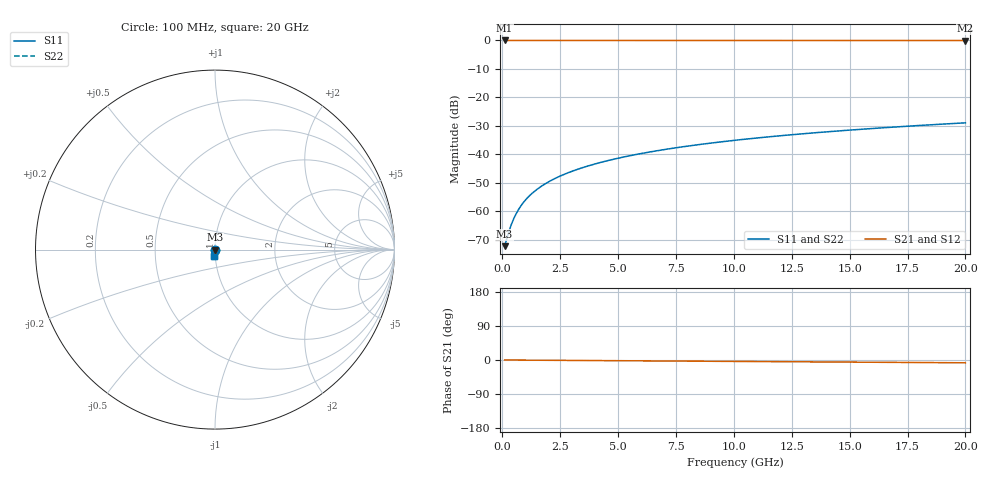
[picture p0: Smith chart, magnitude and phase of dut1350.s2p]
! Touchstone file exported from HFSS 2026.1.0
!  File:  C:/ffzhzh/LocalFiles/Ansys_Project_Files/temp_train_TSV_1350_1783195800_22436.aedt
!  Generated:  04:11:23 AM Jul  5, 2026
!  Design:  TSV
!  Project:  temp_train_TSV_1350_1783195800_22436
! Variables:
!  h_bsmrdl = 2um
!  h_ox = 20um
!  h_rdl = 5um
!  h_sub = 76.01um
!  h_tmrdl = 5um
!  h_tsv = 76.01um
!  h_via = 3um
!  l_bsmrdl = 300um
!  l_sub = 414.62um
!  l_tmrdl = 200um
!  m_sub = 200um
!  pitch = 22.85um
!  r_tsv = 7.31um
!  s_tmrdl = 10um
!  w_bsmrdl = 18um
!  w_sub = 500um
!  w_tmrdl = 12um
!  x_tsv_center1 = 206um
!  x_tsv_center2 = 524um
!  x_tsv_center3 = 736um
!  x_tsv_center4 = 1054um
!  x_tsv_center5 = 1266um
!  x_tsv_center6 = 1584um
# GHz S MA R 50.000000
! Terminal data exported
! Port[1] = TSV1_1_T1
! Port[2] = TSV1_1_T2
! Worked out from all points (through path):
!   200 points, 100 MHz to 20 GHz, reference 50 ohm
!   highest |S21| = 0.00 dB at 100 MHz (marker M1); lowest = 0.0 dB at 20 GHz (marker M2)
!   group delay of S21, straight-line fit = 1.02 ps
!   lowest |S11| = -72.3 dB at 100 MHz (marker M3), VSWR 1.00, Z = 50 - j0.012 ohm
!   |S11| at or under -10 dB: start of sweep to end of sweep
!   |S22| runs from -72.3 to -28.9 dB; largest |S21 - S12| = 2.8e-15
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0.1  0.000243 -29.7  0.9998 -0.0  0.9998 -0.0  0.000243 -29.7
! Gamma 0 0 0 0
! Port Impedance 50 0 50 0
0.3  0.0004586 -56.1  0.9997 -0.1  0.9997 -0.1  0.0004586 -56.1
0.4  0.0005976 -61.4  0.9997 -0.2  0.9997 -0.2  0.0005976 -61.4
0.5  0.0007477 -64.9  0.9997 -0.2  0.9997 -0.2  0.0007477 -64.9
0.6  0.0009053 -67.6  0.9997 -0.2  0.9997 -0.2  0.0009053 -67.6
0.8  0.001234 -71.4  0.9996 -0.3  0.9996 -0.3  0.001234 -71.4
0.9  0.001402 -72.8  0.9996 -0.3  0.9996 -0.3  0.001402 -72.8
1.1  0.001741 -75.1  0.9995 -0.4  0.9995 -0.4  0.001741 -75.1
1.3  0.002082 -76.9  0.9995 -0.5  0.9995 -0.5  0.002082 -76.9
1.5  0.002425 -78.3  0.9995 -0.6  0.9995 -0.6  0.002425 -78.3
1.8  0.002939 -79.9  0.9994 -0.7  0.9994 -0.7  0.002939 -79.9
2.1  0.003454 -81.1  0.9994 -0.8  0.9994 -0.8  0.003454 -81.1
2.7  0.004489 -82.8  0.9993 -1.0  0.9993 -1.0  0.004489 -82.8
3.5  0.005882 -84.2  0.9993 -1.3  0.9993 -1.3  0.005882 -84.2
4.2  0.007112 -85.1  0.9992 -1.6  0.9992 -1.6  0.007112 -85.1
5  0.00853 -86.0  0.9991 -1.9  0.9991 -1.9  0.00853 -86.0
6.8  0.01175 -87.5  0.9989 -2.5  0.9989 -2.5  0.01175 -87.5
8.3  0.01446 -88.5  0.9987 -3.1  0.9987 -3.1  0.01446 -88.5
10.1  0.01771 -89.7  0.9986 -3.8  0.9986 -3.8  0.01771 -89.7
13.4  0.0237 -91.5  0.9983 -5.0  0.9983 -5.0  0.0237 -91.5
16.7  0.02969 -93.0  0.9979 -6.2  0.9979 -6.2  0.02969 -93.0
20  0.0357 -94.5  0.9976 -7.4  0.9976 -7.4  0.0357 -94.5
